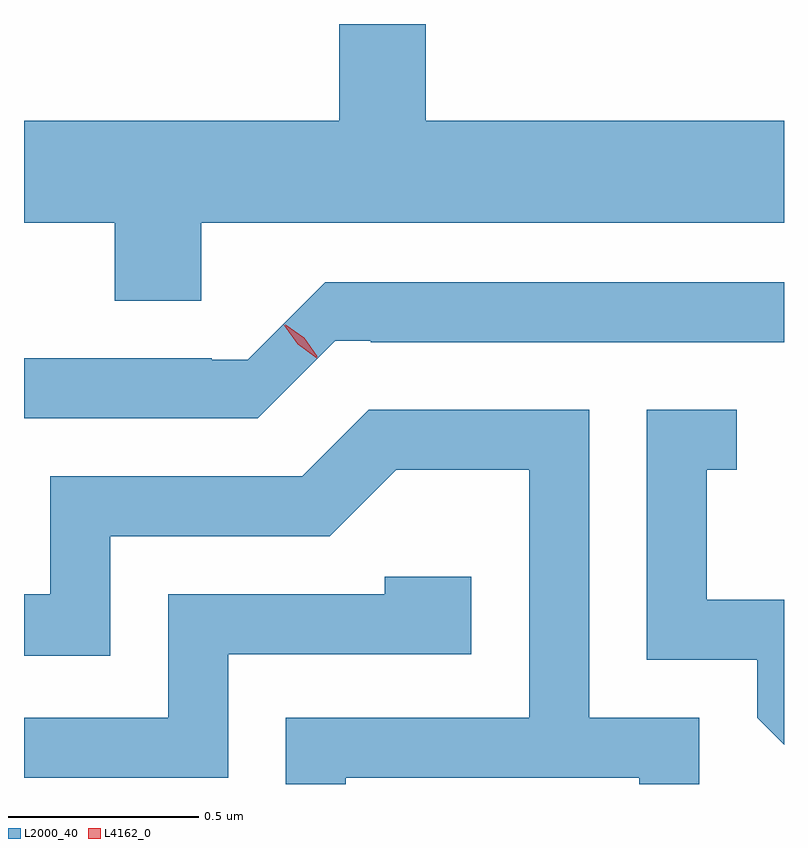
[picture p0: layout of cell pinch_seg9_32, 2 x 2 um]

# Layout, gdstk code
import gdstk
lib = gdstk.Library(unit=1e-6, precision=1e-09)
def P(c, l, *ps):  # polygons
    for p in ps: c.add(gdstk.Polygon(p, *l))
L2000_40 = (2000, 40)
L4162_0 = (4162, 0)

pinch_seg9_32 = lib.new_cell('pinch_seg9_32')
P(pinch_seg9_32, L2000_40, [(859.049,2045.096),(860.582,2045.096),(860.582,2045.364),(859.639,2045.364),(859.639,2045.619),(859.411,2045.619),(859.411,2045.364),(858.582,2045.364),(858.582,2045.096),(858.821,2045.096),(858.821,2044.891),(859.049,2044.891)],
  [(859.401,2044.785),(859.495,2044.785),(859.495,2044.781),(860.582,2044.781),(860.582,2044.939),(859.375,2044.939),(859.171,2044.735),(859.076,2044.735),(859.076,2044.739),(858.582,2044.739),(858.582,2044.581),(859.197,2044.581)],
  [(860.582,2044.104),(860.379,2044.104),(860.379,2044.446),(860.458,2044.446),(860.458,2044.604),(860.221,2044.604),(860.221,2043.946),(860.511,2043.946),(860.511,2043.793),(860.582,2043.722)],
  [(859.429,2043.636),(860.201,2043.636),(860.201,2043.619),(860.359,2043.619),(860.359,2043.794),(860.069,2043.794),(860.069,2044.604),(859.489,2044.604),(859.314,2044.429),(858.651,2044.429),(858.651,2044.119),(858.582,2044.119),(858.582,2043.956),(858.809,2043.956),(858.809,2044.271),(859.387,2044.271),(859.562,2044.446),(859.911,2044.446),(859.911,2043.794),(859.271,2043.794),(859.271,2043.619),(859.429,2043.619)],
  [(859.119,2043.961),(859.759,2043.961),(859.759,2044.164),(859.531,2044.164),(859.531,2044.119),(858.961,2044.119),(858.961,2043.794),(858.582,2043.794),(858.582,2043.636),(859.119,2043.636)])
P(pinch_seg9_32, L4162_0, [(859.353,2044.739),(859.302,2044.776),(859.265,2044.827),(859.265,2044.828),(859.265,2044.828),(859.316,2044.79),(859.354,2044.74),(859.354,2044.739)],
  [(859.353,2044.744),(859.305,2044.779),(859.27,2044.827),(859.27,2044.828),(859.271,2044.828),(859.319,2044.793),(859.354,2044.745),(859.354,2044.744)])

lib.write_gds('pinch_seg9_32.gds')
